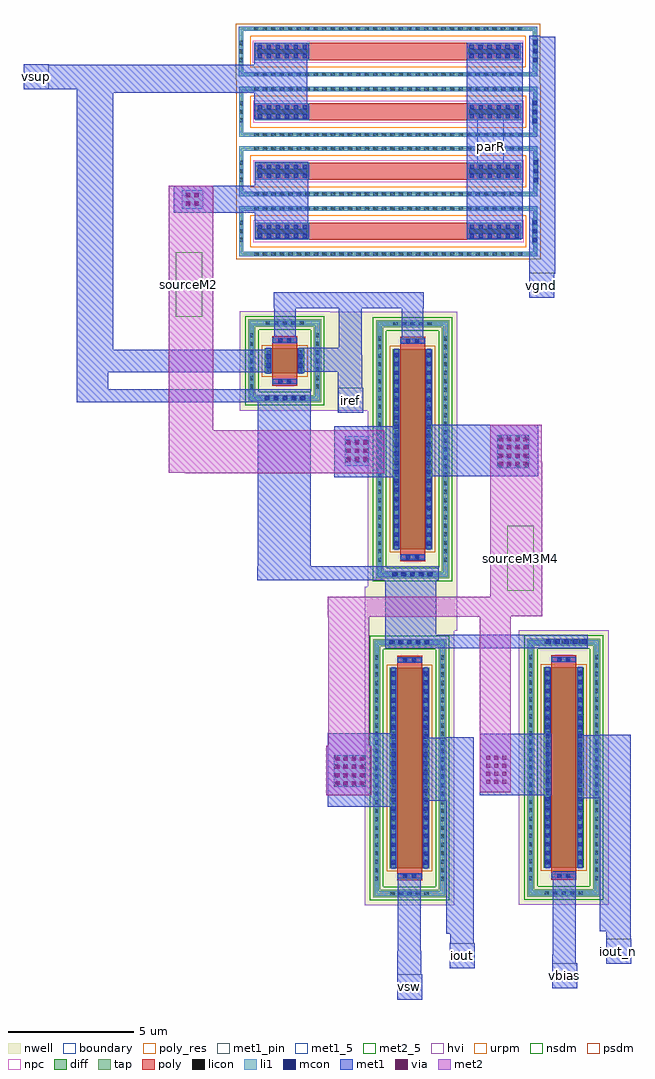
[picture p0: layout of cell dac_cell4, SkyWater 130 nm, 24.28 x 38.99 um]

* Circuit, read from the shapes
.subckt dac_cell4 iout iout_n iref parR sourceM2 sourceM3M4 vbias vgnd vsup vsw
XM1 iref iref vsup vsup sky130_fd_pr__pfet_g5v0d10v5 w=1 l=1
XM2 iout vsw sourceM3M4 vsup sky130_fd_pr__pfet_g5v0d10v5 w=8 l=1
XM3 sourceM3M4 iref sourceM2 vsup sky130_fd_pr__pfet_g5v0d10v5 w=8 l=1
XM4 iout_n vbias sourceM3M4 vsup sky130_fd_pr__pfet_g5v0d10v5 w=8 l=1
XR5 parR vsup vgnd sky130_fd_pr__res_xhigh_po w=0.69 l=6.3 m=2
XR6 parR sourceM2 vgnd sky130_fd_pr__res_xhigh_po w=0.69 l=6.3 m=2
.ends

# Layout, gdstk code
from math import pi, radians
import gdstk
lib = gdstk.Library(unit=1e-6, precision=1e-09)
def R(c, l, rs):  # rectangles x0, y0, x1, y1
    for r in rs: c.add(gdstk.rectangle(r[:2], r[2:], *l))
def A(c, l, x, y, w, h, nx, ny, dx, dy):  # array of equal rectangles
    R(c, l, [(x+i*dx, y+j*dy, x+i*dx+w, y+j*dy+h) for i in range(nx) for j in range(ny)])
nwell = (64, 20)
diff = (65, 20)
tap = (65, 44)
poly_res = (66, 13)
poly = (66, 20)
licon = (66, 44)
li1 = (67, 20)
mcon = (67, 44)
met1_5 = (68, 5)
met1_pin = (68, 16)
met1 = (68, 20)
via = (68, 44)
met2_5 = (69, 5)
met2 = (69, 20)
hvi = (75, 20)
urpm = (79, 20)
nsdm = (93, 44)
psdm = (94, 20)
npc = (95, 20)
boundary = (235, 4)

sky130_fd_pr__res_xhigh_ = lib.new_cell('sky130_fd_pr__res_xhigh_po_0p69_C4MSH5')
R(sky130_fd_pr__res_xhigh_, tap, [(-0.995,-5.96,0.995,-5.79), (-0.995,-5.79,-0.825,5.79), (0.825,-5.79,0.995,5.79), (-0.995,5.79,0.995,5.96)])
R(sky130_fd_pr__res_xhigh_, poly_res, [(-0.345,-3.21,0.345,3.21)])
R(sky130_fd_pr__res_xhigh_, poly, [(-0.345,-5.31,0.345,5.31)])
A(sky130_fd_pr__res_xhigh_, licon, -0.425, -5.96, 0.17, 0.17, 3, 2, 0.34, 11.75)
A(sky130_fd_pr__res_xhigh_, licon, -0.995, -5.355, 0.17, 0.17, 1, 32, 0, 0.34)
A(sky130_fd_pr__res_xhigh_, licon, 0.825, -5.355, 0.17, 0.17, 1, 32, 0, 0.34)
R(sky130_fd_pr__res_xhigh_, licon, [(-0.095,-5.23,0.095,-3.23), (-0.095,3.23,0.095,5.23)])
R(sky130_fd_pr__res_xhigh_, li1, [(-0.995,-5.96,0.995,-5.79), (-0.995,-5.79,-0.825,5.79), (0.825,-5.79,0.995,5.79), (-0.345,-5.31,0.345,-3.15), (-0.345,3.15,0.345,5.31), (-0.995,5.79,0.995,5.96)])
A(sky130_fd_pr__res_xhigh_, mcon, -0.265, -5.215, 0.17, 0.17, 1, 6, 0, 0.36)
A(sky130_fd_pr__res_xhigh_, mcon, 0.095, -5.215, 0.17, 0.17, 1, 6, 0, 0.36)
A(sky130_fd_pr__res_xhigh_, mcon, -0.265, 3.24, 0.17, 0.17, 1, 6, 0, 0.36)
A(sky130_fd_pr__res_xhigh_, mcon, 0.095, 3.24, 0.17, 0.17, 1, 6, 0, 0.36)
R(sky130_fd_pr__res_xhigh_, met1, [(-0.295,-5.28,0.295,-3.175), (-0.295,3.175,0.295,5.28)])
R(sky130_fd_pr__res_xhigh_, urpm, [(-0.635,-5.51,0.635,5.51)])
R(sky130_fd_pr__res_xhigh_, psdm, [(-1.12,-6.085,1.12,6.085)])
R(sky130_fd_pr__res_xhigh_, npc, [(-0.44,-5.405,0.44,5.405)])
R(sky130_fd_pr__res_xhigh_, boundary, [(-0.91,-5.875,0.91,5.875)])

sky130_fd_pr__pfet_g5v0d = lib.new_cell('sky130_fd_pr__pfet_g5v0d10v5_FG5HVM')
R(sky130_fd_pr__pfet_g5v0d, nwell, [(-1.79,-5.485,1.79,5.485)])
R(sky130_fd_pr__pfet_g5v0d, diff, [(-0.79,-4,0.79,4)])
R(sky130_fd_pr__pfet_g5v0d, tap, [(-1.46,-5.155,1.46,-4.865), (-1.46,-4.865,-1.17,4.865), (1.17,-4.865,1.46,4.865), (-1.46,4.865,1.46,5.155)])
R(sky130_fd_pr__pfet_g5v0d, poly, [(-0.5,-4.485,0.5,4.485)])
A(sky130_fd_pr__pfet_g5v0d, licon, -0.765, -5.095, 0.17, 0.17, 5, 2, 0.34, 10.02)
A(sky130_fd_pr__pfet_g5v0d, licon, -1.4, -4.505, 0.17, 0.17, 1, 27, 0, 0.34)
A(sky130_fd_pr__pfet_g5v0d, licon, 1.23, -4.505, 0.17, 0.17, 1, 27, 0, 0.34)
A(sky130_fd_pr__pfet_g5v0d, licon, -0.73, -3.825, 0.17, 0.17, 1, 23, 0, 0.34)
A(sky130_fd_pr__pfet_g5v0d, licon, 0.56, -3.825, 0.17, 0.17, 1, 23, 0, 0.34)
R(sky130_fd_pr__pfet_g5v0d, licon, [(-0.255,-4.405,-0.085,-4.235), (0.085,-4.405,0.255,-4.235), (-0.255,4.235,-0.085,4.405), (0.085,4.235,0.255,4.405)])
R(sky130_fd_pr__pfet_g5v0d, li1, [(-1.4,-5.095,1.4,-4.925), (-1.4,-4.925,-1.23,4.925), (1.23,-4.925,1.4,4.925), (-0.5,-4.405,0.5,-4.235), (-0.73,-4.02,-0.56,4.02), (0.56,-4.02,0.73,4.02), (-0.5,4.235,0.5,4.405), (-1.4,4.925,1.4,5.095)])
A(sky130_fd_pr__pfet_g5v0d, mcon, -0.73, -3.865, 0.17, 0.17, 1, 22, 0, 0.36)
A(sky130_fd_pr__pfet_g5v0d, mcon, 0.56, -3.865, 0.17, 0.17, 1, 22, 0, 0.36)
R(sky130_fd_pr__pfet_g5v0d, mcon, [(-0.265,-4.405,-0.095,-4.235), (0.095,-4.405,0.265,-4.235), (-0.265,4.235,-0.095,4.405), (0.095,4.235,0.265,4.405)])
R(sky130_fd_pr__pfet_g5v0d, met1, [(-0.48,-4.435,0.48,-4.205), (-0.76,-4,-0.53,4), (0.53,-4,0.76,4), (-0.48,4.205,0.48,4.435)])
R(sky130_fd_pr__pfet_g5v0d, hvi, [(-1.79,-5.485,1.79,5.485)])
R(sky130_fd_pr__pfet_g5v0d, nsdm, [(-1.585,-5.28,1.585,-4.74), (-1.585,-4.74,-1.045,4.74), (1.045,-4.74,1.585,4.74), (-1.585,4.74,1.585,5.28)])
R(sky130_fd_pr__pfet_g5v0d, psdm, [(-0.915,-4.125,0.915,4.125)])
R(sky130_fd_pr__pfet_g5v0d, npc, [(-0.355,-4.505,0.355,-4.135), (-0.355,4.135,0.355,4.505)])
R(sky130_fd_pr__pfet_g5v0d, boundary, [(-1.315,-5.01,1.315,5.01)])

c_sky130_fd_pr__pfet_g5v0d = lib.new_cell('sky130_fd_pr__pfet_g5v0d10v5_FGUWVM')
R(c_sky130_fd_pr__pfet_g5v0d, nwell, [(-1.79,-1.985,1.79,1.985)])
R(c_sky130_fd_pr__pfet_g5v0d, diff, [(-0.79,-0.5,0.79,0.5)])
R(c_sky130_fd_pr__pfet_g5v0d, tap, [(-1.46,-1.655,1.46,-1.365), (-1.46,-1.365,-1.17,1.365), (1.17,-1.365,1.46,1.365), (-1.46,1.365,1.46,1.655)])
R(c_sky130_fd_pr__pfet_g5v0d, poly, [(-0.5,-0.985,0.5,0.985)])
A(c_sky130_fd_pr__pfet_g5v0d, licon, -0.765, -1.595, 0.17, 0.17, 5, 2, 0.34, 3.02)
A(c_sky130_fd_pr__pfet_g5v0d, licon, -1.4, -1.105, 0.17, 0.17, 1, 7, 0, 0.34)
A(c_sky130_fd_pr__pfet_g5v0d, licon, 1.23, -1.105, 0.17, 0.17, 1, 7, 0, 0.34)
A(c_sky130_fd_pr__pfet_g5v0d, licon, -0.73, -0.425, 0.17, 0.17, 1, 3, 0, 0.34)
A(c_sky130_fd_pr__pfet_g5v0d, licon, 0.56, -0.425, 0.17, 0.17, 1, 3, 0, 0.34)
R(c_sky130_fd_pr__pfet_g5v0d, licon, [(-0.255,-0.905,-0.085,-0.735), (0.085,-0.905,0.255,-0.735), (-0.255,0.735,-0.085,0.905), (0.085,0.735,0.255,0.905)])
R(c_sky130_fd_pr__pfet_g5v0d, li1, [(-1.4,-1.595,1.4,-1.425), (-1.4,-1.425,-1.23,1.425), (1.23,-1.425,1.4,1.425), (-0.5,-0.905,0.5,-0.735), (-0.73,-0.52,-0.56,0.52), (0.56,-0.52,0.73,0.52), (-0.5,0.735,0.5,0.905), (-1.4,1.425,1.4,1.595)])
R(c_sky130_fd_pr__pfet_g5v0d, mcon, [(-0.265,-0.905,-0.095,-0.735), (0.095,-0.905,0.265,-0.735), (-0.73,-0.265,-0.56,-0.095), (0.56,-0.265,0.73,-0.095), (-0.73,0.095,-0.56,0.265), (0.56,0.095,0.73,0.265), (-0.265,0.735,-0.095,0.905), (0.095,0.735,0.265,0.905)])
R(c_sky130_fd_pr__pfet_g5v0d, met1, [(-0.48,-0.935,0.48,-0.705), (-0.76,-0.5,-0.53,0.5), (0.53,-0.5,0.76,0.5), (-0.48,0.705,0.48,0.935)])
R(c_sky130_fd_pr__pfet_g5v0d, hvi, [(-1.79,-1.985,1.79,1.985)])
R(c_sky130_fd_pr__pfet_g5v0d, nsdm, [(-1.585,-1.78,1.585,-1.24), (-1.585,-1.24,-1.045,1.24), (1.045,-1.24,1.585,1.24), (-1.585,1.24,1.585,1.78)])
R(c_sky130_fd_pr__pfet_g5v0d, psdm, [(-0.915,-0.625,0.915,0.625)])
R(c_sky130_fd_pr__pfet_g5v0d, npc, [(-0.355,-1.005,0.355,-0.635), (-0.355,0.635,0.355,1.005)])
R(c_sky130_fd_pr__pfet_g5v0d, boundary, [(-1.315,-1.51,1.315,1.51)])

dac_cell4 = lib.new_cell('dac_cell4')
R(dac_cell4, nwell, [(12.24,5.07,15.94,6.84), (10.83,13.87,12.36,17.81)])
R(dac_cell4, li1, [(10.99,-1.16,12.28,0.1), (13.09,4.51,14.95,4.71), (19.49,4.55,21.1,4.73), (13.22,7.23,15.08,7.43), (17.53,11.57,18.82,12.9), (11.44,11.67,12.42,12.85), (8.12,14.27,9.98,14.47), (18.94,20.52,19.14,21.55), (4.92,21.94,5.78,22.68), (18.97,22.92,19.17,23.95), (18.94,25.28,19.14,26.31), (18.95,27.72,19.15,28.75)])
A(dac_cell4, mcon, 11.01, -1.155, 0.17, 0.17, 4, 4, 0.36, 0.36)
A(dac_cell4, mcon, 13.215, 4.525, 0.17, 0.17, 5, 1, 0.36, 0)
A(dac_cell4, mcon, 19.49, 4.555, 0.17, 0.17, 5, 1, 0.36, 0)
A(dac_cell4, mcon, 13.345, 7.245, 0.17, 0.17, 5, 1, 0.36, 0)
A(dac_cell4, mcon, 17.55, 11.61, 0.17, 0.17, 4, 4, 0.36, 0.36)
A(dac_cell4, mcon, 11.485, 11.815, 0.17, 0.17, 3, 3, 0.36, 0.36)
A(dac_cell4, mcon, 8.245, 14.285, 0.17, 0.17, 5, 1, 0.36, 0)
A(dac_cell4, mcon, 18.955, 20.59, 0.17, 0.17, 1, 3, 0, 0.36)
A(dac_cell4, mcon, 18.985, 22.99, 0.17, 0.17, 1, 3, 0, 0.36)
A(dac_cell4, mcon, 18.955, 25.35, 0.17, 0.17, 1, 3, 0, 0.36)
A(dac_cell4, mcon, 18.965, 27.79, 0.17, 0.17, 1, 3, 0, 0.36)
R(dac_cell4, mcon, [(5.085,22.045,5.255,22.215), (5.445,22.045,5.615,22.215), (5.085,22.405,5.255,22.575), (5.445,22.405,5.615,22.575)])
R(dac_cell4, met1_5, [(16.74,23.12,17.8,25.7)])
R(dac_cell4, met1_pin, [(13.53,-9.66,14.53,-8.66), (19.73,-9.21,20.73,-8.21), (15.63,-8.41,16.63,-7.41), (21.89,-8.24,22.89,-7.24), (11.18,13.79,12.18,14.79), (18.81,18.37,19.81,19.37), (-1.39,26.7,-0.39,27.7)])
R(dac_cell4, met1, [(13.53,-9.66,14.53,-8.66), (19.72,-9.21,20.73,-8.21), (13.54,-8.66,14.49,-7.73), (15.63,-8.41,16.63,-7.41), (21.89,-8.24,22.89,-7.24), (19.72,-8.21,20.66,-7.88), (19.74,-7.88,20.66,-4.53), (13.56,-7.73,14.48,-4.61), (15.65,-7.41,16.6,-7.03), (21.89,-7.24,22.87,-6.93), (15.5,-7.03,16.6,-1.71), (21.63,-6.93,22.87,-1.61), (10.75,-1.96,13.42,0.97), (14.6,-1.71,16.6,0.79), (20.73,-1.61,22.87,0.89), (16.83,-1.5,19.68,0.95), (15.5,0.79,16.6,0.81), (21.63,0.89,22.87,0.91), (13.06,4.37,21.15,4.38), (13.05,4.38,21.15,4.91), (13.05,4.91,15.09,7.09), (7.94,7.09,15.19,7.66), (7.96,7.66,10.08,14.21), (11.01,11.2,13.48,13.24), (14.72,11.24,19.17,13.3), (11.18,13.79,12.18,13.81), (11.16,13.81,12.18,14.79), (0.73,14.21,10.08,14.72), (0.73,14.72,1.99,15.41), (11.16,14.79,12.14,15.42), (0.73,15.41,8.49,16.3), (9.6,15.42,12.14,16.09), (9.6,16.09,12.12,16.37), (0.73,16.3,2.19,26.57), (11.2,16.37,12.12,17.96), (13.72,16.58,14.58,17.96), (8.62,16.61,9.48,17.96), (8.61,17.96,14.6,18.6), (18.81,18.37,19.81,19.33), (18.81,19.33,19.85,20.6), (18.82,20.6,19.85,28.81), (7.85,20.74,9.98,21.78), (16.32,20.74,18.56,28.57), (4.6,21.78,9.98,22.85), (7.85,22.85,9.98,23.81), (7.82,25.5,9.95,26.57), (0.73,26.57,9.95,26.7), (-1.39,26.7,9.95,27.69), (-1.39,27.69,-0.39,27.7), (7.82,27.69,9.95,28.57), (18.82,28.81,19.23,28.85)])
A(dac_cell4, via, 11.08, -1.085, 0.15, 0.15, 4, 4, 0.32, 0.32)
A(dac_cell4, via, 17.1, -1.04, 0.15, 0.15, 3, 4, 0.32, 0.32)
A(dac_cell4, via, 17.62, 11.68, 0.15, 0.15, 4, 4, 0.32, 0.32)
A(dac_cell4, via, 11.535, 11.865, 0.15, 0.15, 3, 3, 0.32, 0.32)
R(dac_cell4, via, [(5.115,22.075,5.265,22.225), (5.435,22.075,5.585,22.225), (5.115,22.395,5.265,22.545), (5.435,22.395,5.585,22.545)])
R(dac_cell4, met2_5, [(17.93,6.68,18.99,9.26), (4.68,17.62,5.74,20.2)])
R(dac_cell4, met2, [(10.71,-1.49,12.5,0.47), (16.83,-1.37,18.08,5.64), (10.77,0.47,12.42,5.64), (10.75,5.64,18.08,5.65), (10.75,5.65,19.33,6.44), (17.25,6.44,19.33,11.8), (5.06,11.37,13.01,11.39), (4.41,11.39,13.01,13.08), (17.25,11.8,19.31,13.3), (4.41,13.08,6.19,22.86)])
R(dac_cell4, hvi, [(12.24,5.07,15.94,6.84), (10.83,13.87,12.36,17.81)])
R(dac_cell4, psdm, [(7.095,22.155,19.265,22.315), (7.095,24.555,19.265,24.685), (7.095,26.925,19.255,27.095)])
dac_cell4.add(gdstk.Reference(sky130_fd_pr__res_xhigh_, (13.17,28.215), rotation=pi/2))
dac_cell4.add(gdstk.Reference(sky130_fd_pr__res_xhigh_, (13.18,25.805), rotation=pi/2))
dac_cell4.add(gdstk.Reference(sky130_fd_pr__res_xhigh_, (13.18,23.435), rotation=pi/2))
dac_cell4.add(gdstk.Reference(sky130_fd_pr__res_xhigh_, (13.18,21.035), rotation=pi/2))
dac_cell4.add(gdstk.Reference(sky130_fd_pr__pfet_g5v0d, (20.19,-0.395)))
dac_cell4.add(gdstk.Reference(sky130_fd_pr__pfet_g5v0d, (14.03,-0.415)))
dac_cell4.add(gdstk.Reference(sky130_fd_pr__pfet_g5v0d, (14.15,12.325)))
dac_cell4.add(gdstk.Reference(c_sky130_fd_pr__pfet_g5v0d, (9.04,15.855)))
dac_cell4.add(gdstk.Label('parR', (17.27,24.41), layer=68, texttype=5))
dac_cell4.add(gdstk.Label('sourceM3M4', (18.46,7.97), layer=69, texttype=5))
dac_cell4.add(gdstk.Label('sourceM2', (5.21,18.91), layer=69, texttype=5))
dac_cell4.add(gdstk.Label('vsup', (-0.89,27.2), layer=68, texttype=16))
dac_cell4.add(gdstk.Label('vgnd', (19.31,18.87), layer=68, texttype=16))
dac_cell4.add(gdstk.Label('iref', (11.68,14.29), layer=68, texttype=16))
dac_cell4.add(gdstk.Label('vsw', (14.03,-9.16), layer=68, texttype=16))
dac_cell4.add(gdstk.Label('iout', (16.13,-7.91), layer=68, texttype=16))
dac_cell4.add(gdstk.Label('iout_n', (22.39,-7.74), layer=68, texttype=16))
dac_cell4.add(gdstk.Label('vbias', (20.23,-8.71), layer=68, texttype=16))

lib.write_gds('dac_cell4.gds')
